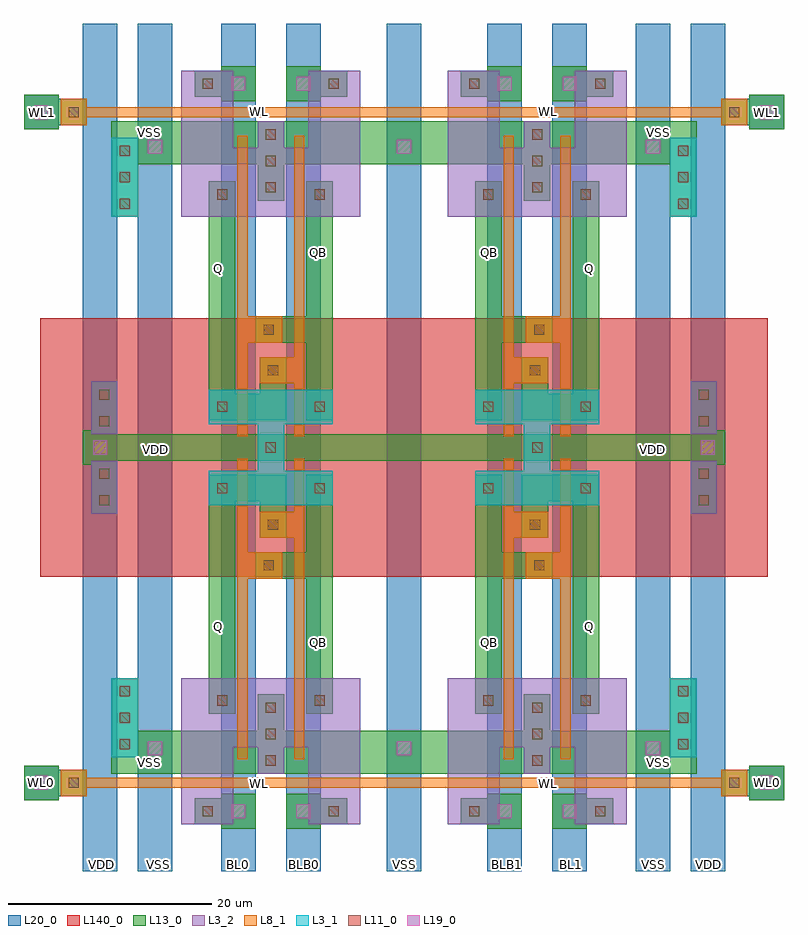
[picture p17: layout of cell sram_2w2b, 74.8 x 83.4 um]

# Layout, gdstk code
from math import pi, radians
import gdstk
lib = gdstk.Library(unit=1e-6, precision=1e-09)
def R(c, l, rs):  # rectangles x0, y0, x1, y1
    for r in rs: c.add(gdstk.rectangle(r[:2], r[2:], *l))
def A(c, l, x, y, w, h, nx, ny, dx, dy):  # array of equal rectangles
    R(c, l, [(x+i*dx, y+j*dy, x+i*dx+w, y+j*dy+h) for i in range(nx) for j in range(ny)])
L3_1 = (3, 1)
L3_2 = (3, 2)
L8_1 = (8, 1)
L11_0 = (11, 0)
L13_0 = (13, 0)
L19_0 = (19, 0)
L20_0 = (20, 0)
L140_0 = (140, 0)

cont_p_3 = lib.new_cell('cont_p$3')
R(cont_p_3, L3_1, [(-1.3,-1.3,1.3,1.3)])
R(cont_p_3, L11_0, [(-0.5,-0.5,0.5,0.5)])
R(cont_p_3, L13_0, [(-1.3,-1.3,1.3,1.3)])

cont_n_3 = lib.new_cell('cont_n$3')
R(cont_n_3, L3_2, [(-1.3,-1.3,1.3,1.3)])
R(cont_n_3, L11_0, [(-0.5,-0.5,0.5,0.5)])
R(cont_n_3, L13_0, [(-1.3,-1.3,1.3,1.3)])

via_1_1 = lib.new_cell('via_1$1')
R(via_1_1, L13_0, [(-1.7,-1.7,1.7,1.7)])
R(via_1_1, L19_0, [(-0.7,-0.7,0.7,0.7)])
R(via_1_1, L20_0, [(-1.7,-1.7,1.7,1.7)])

cont_g_3 = lib.new_cell('cont_g$3')
R(cont_g_3, L8_1, [(-1.3,-1.3,1.3,1.3)])
R(cont_g_3, L11_0, [(-0.5,-0.5,0.5,0.5)])
R(cont_g_3, L13_0, [(-1.3,-1.3,1.3,1.3)])

sram_2w2b = lib.new_cell('sram_2w2b')
R(sram_2w2b, L3_1, [(-405.9,10196.3,-393.7,10199.7), (-379.7,10196.3,-367.5,10199.7), (-401.1,10199.7,-398.5,10200.7), (-374.9,10199.7,-372.3,10200.7), (-401.1,10203.3,-398.5,10204.3), (-374.9,10203.3,-372.3,10204.3), (-405.9,10204.3,-393.7,10207.7), (-379.7,10204.3,-367.5,10207.7)])
R(sram_2w2b, L3_2, [(-408.6,10164.9,-403.5,10172.5), (-396.1,10164.9,-391,10172.5), (-382.4,10164.9,-377.3,10172.5), (-369.9,10164.9,-364.8,10172.5), (-408.6,10172.5,-391,10179.3), (-382.4,10172.5,-364.8,10179.3), (-408.6,10224.7,-391,10231.5), (-382.4,10224.7,-364.8,10231.5), (-408.6,10231.5,-403.5,10239.1), (-396.1,10231.5,-391,10239.1), (-382.4,10231.5,-377.3,10239.1), (-369.9,10231.5,-364.8,10239.1)])
R(sram_2w2b, L8_1, [(-419.7,10168.5,-412.9,10169.5), (-419.7,10168.5,-412.9,10169.5), (-412.9,10168.5,-386.7,10169.5), (-386.7,10168.5,-360.5,10169.5), (-360.5,10168.5,-353.7,10169.5), (-403.1,10171.3,-402.1,10200.9), (-397.5,10171.3,-396.5,10200.9), (-376.9,10171.3,-375.9,10200.9), (-371.3,10171.3,-370.3,10200.9), (-402.1,10189.1,-401.3,10191.7), (-372.1,10189.1,-371.3,10191.7), (-398.3,10193.1,-397.5,10195.7), (-375.9,10193.1,-375.1,10195.7), (-403.1,10203.1,-402.1,10232.7), (-397.5,10203.1,-396.5,10232.7), (-376.9,10203.1,-375.9,10232.7), (-371.3,10203.1,-370.3,10232.7), (-398.3,10208.3,-397.5,10210.9), (-375.9,10208.3,-375.1,10210.9), (-402.1,10212.3,-401.3,10214.9), (-372.1,10212.3,-371.3,10214.9), (-419.7,10234.5,-412.9,10235.5), (-412.9,10234.5,-386.7,10235.5), (-386.7,10234.5,-360.5,10235.5), (-360.5,10234.5,-353.7,10235.5)])
R(sram_2w2b, L13_0, [(-420.7,10167.7,-420.5,10170.3), (-420.7,10167.7,-420.5,10170.3), (-352.9,10167.7,-352.7,10170.3), (-352.9,10167.7,-352.7,10170.3), (-352.9,10167.7,-352.7,10170.3), (-352.9,10167.7,-352.7,10170.3), (-415.5,10169.9,-412.9,10171.5), (-412.9,10169.9,-386.7,10174.1), (-386.7,10169.9,-360.5,10174.1), (-360.5,10169.9,-357.9,10171.5), (-401.1,10172.5,-398.5,10177.7), (-374.9,10172.5,-372.3,10177.7), (-405.9,10175.8,-403.3,10196.7), (-396.3,10175.8,-393.7,10196.7), (-379.7,10175.8,-377.1,10196.7), (-370.1,10175.8,-367.5,10196.7), (-398.7,10189.1,-396.3,10191.7), (-377.1,10189.1,-374.7,10191.7), (-400.9,10195.6,-398.3,10196.7), (-375.1,10195.6,-372.5,10196.7), (-403.3,10196.7,-398.3,10199.3), (-375.1,10196.7,-370.1,10199.3), (-417.5,10200.7,-412.9,10203.3), (-412.9,10200.7,-386.7,10203.3), (-412.9,10200.7,-386.7,10203.3), (-386.7,10200.7,-360.5,10203.3), (-386.7,10200.7,-360.5,10203.3), (-360.5,10200.7,-355.9,10203.3), (-403.3,10204.7,-398.3,10207.3), (-375.1,10204.7,-370.1,10207.3), (-405.9,10207.3,-403.3,10228.2), (-400.9,10207.3,-398.3,10208.4), (-396.3,10207.3,-393.7,10228.2), (-379.7,10207.3,-377.1,10228.2), (-375.1,10207.3,-372.5,10208.4), (-370.1,10207.3,-367.5,10228.2), (-398.7,10212.3,-396.3,10214.9), (-377.1,10212.3,-374.7,10214.9), (-401.1,10226.3,-398.5,10231.5), (-374.9,10226.3,-372.3,10231.5), (-412.9,10229.9,-386.7,10234.1), (-386.7,10229.9,-360.5,10234.1), (-415.5,10232.5,-412.9,10234.1), (-360.5,10232.5,-357.9,10234.1), (-420.7,10233.7,-420.5,10236.3), (-352.9,10233.7,-352.7,10236.3), (-352.9,10233.7,-352.7,10236.3), (-352.9,10233.7,-352.7,10236.3), (-352.9,10233.7,-352.7,10236.3)])
A(sram_2w2b, L20_0, -398.3, 10160.3, 3.4, 4.2, 3, 2, 9.9, 79.2)
R(sram_2w2b, L20_0, [(-418.3,10160.3,-414.9,10164.5), (-412.9,10160.3,-409.5,10164.5), (-404.7,10160.3,-401.3,10164.5), (-404.7,10160.3,-401.3,10164.5), (-398.3,10160.3,-394.9,10164.5), (-378.5,10160.3,-375.1,10164.5), (-372.1,10160.3,-368.7,10164.5), (-372.1,10160.3,-368.7,10164.5), (-363.9,10160.3,-360.5,10164.5), (-358.5,10160.3,-355.1,10164.5), (-418.3,10164.5,-414.9,10200.3), (-412.9,10164.5,-409.5,10202), (-388.4,10164.5,-385,10202), (-388.4,10164.5,-385,10202), (-363.9,10164.5,-360.5,10202), (-358.5,10164.5,-355.1,10200.3), (-404.7,10167.9,-401.3,10202), (-398.3,10167.9,-394.9,10202), (-378.5,10167.9,-375.1,10202), (-372.1,10167.9,-368.7,10202), (-412.9,10202,-409.5,10239.5), (-404.7,10202,-401.3,10236.1), (-398.3,10202,-394.9,10236.1), (-388.4,10202,-385,10239.5), (-388.4,10202,-385,10239.5), (-378.5,10202,-375.1,10236.1), (-372.1,10202,-368.7,10236.1), (-363.9,10202,-360.5,10239.5), (-418.3,10203.7,-414.9,10239.5), (-358.5,10203.7,-355.1,10239.5), (-418.3,10239.5,-414.9,10243.7), (-412.9,10239.5,-409.5,10243.7), (-404.7,10239.5,-401.3,10243.7), (-404.7,10239.5,-401.3,10243.7), (-398.3,10239.5,-394.9,10243.7), (-378.5,10239.5,-375.1,10243.7), (-372.1,10239.5,-368.7,10243.7), (-372.1,10239.5,-368.7,10243.7), (-363.9,10239.5,-360.5,10243.7), (-358.5,10239.5,-355.1,10243.7)])
R(sram_2w2b, L140_0, [(-422.5,10189.3,-412.9,10214.7), (-412.9,10189.3,-386.7,10210.3), (-386.7,10189.3,-360.5,10210.3), (-360.5,10189.3,-350.9,10214.7), (-412.9,10193.7,-386.7,10214.7), (-386.7,10193.7,-360.5,10214.7)])
r = gdstk.Reference(cont_p_3, (-373.6,10202), rotation=pi, x_reflection=True); r.repetition = gdstk.Repetition(1, 1, v1=(0,0), v2=(0,0)); sram_2w2b.add(r)
r = gdstk.Reference(cont_p_3, (-399.8,10202), x_reflection=True); r.repetition = gdstk.Repetition(1, 1, v1=(0,0), v2=(0,0)); sram_2w2b.add(r)
r = gdstk.Reference(cont_p_3, (-373.6,10202), rotation=pi); r.repetition = gdstk.Repetition(1, 1, v1=(0,0), v2=(0,0)); sram_2w2b.add(r)
sram_2w2b.add(gdstk.Reference(cont_n_3, (-416.2,10204.6), x_reflection=True))
sram_2w2b.add(gdstk.Reference(cont_n_3, (-416.2,10199.4), x_reflection=True))
sram_2w2b.add(gdstk.Reference(via_1_1, (-416.6,10202), x_reflection=True))
sram_2w2b.add(gdstk.Reference(cont_n_3, (-416.2,10207.2), x_reflection=True))
sram_2w2b.add(gdstk.Reference(cont_n_3, (-416.2,10196.8), x_reflection=True))
sram_2w2b.add(gdstk.Reference(cont_p_3, (-414.2,10172.8), x_reflection=True))
sram_2w2b.add(gdstk.Reference(cont_p_3, (-414.2,10175.4), x_reflection=True))
sram_2w2b.add(gdstk.Reference(cont_p_3, (-414.2,10178), x_reflection=True))
sram_2w2b.add(gdstk.Reference(cont_p_3, (-414.2,10226), x_reflection=True))
sram_2w2b.add(gdstk.Reference(cont_p_3, (-414.2,10228.6), x_reflection=True))
sram_2w2b.add(gdstk.Reference(cont_p_3, (-414.2,10231.2), x_reflection=True))
sram_2w2b.add(gdstk.Reference(cont_n_3, (-357.2,10204.6), x_reflection=True))
sram_2w2b.add(gdstk.Reference(cont_n_3, (-357.2,10199.4), x_reflection=True))
sram_2w2b.add(gdstk.Reference(via_1_1, (-356.8,10202), x_reflection=True))
sram_2w2b.add(gdstk.Reference(cont_n_3, (-357.2,10207.2), x_reflection=True))
sram_2w2b.add(gdstk.Reference(cont_n_3, (-357.2,10196.8), x_reflection=True))
sram_2w2b.add(gdstk.Reference(cont_p_3, (-359.2,10172.8), x_reflection=True))
sram_2w2b.add(gdstk.Reference(cont_p_3, (-359.2,10175.4), x_reflection=True))
sram_2w2b.add(gdstk.Reference(cont_p_3, (-359.2,10178), x_reflection=True))
sram_2w2b.add(gdstk.Reference(cont_p_3, (-359.2,10226), x_reflection=True))
sram_2w2b.add(gdstk.Reference(cont_p_3, (-359.2,10228.6), x_reflection=True))
sram_2w2b.add(gdstk.Reference(cont_p_3, (-359.2,10231.2), x_reflection=True))
sram_2w2b.add(gdstk.Reference(via_1_1, (-422.4,10169), x_reflection=True))
sram_2w2b.add(gdstk.Reference(via_1_1, (-422.4,10235), x_reflection=True))
sram_2w2b.add(gdstk.Reference(cont_g_3, (-419.2,10235), x_reflection=True))
sram_2w2b.add(gdstk.Reference(cont_g_3, (-419.2,10169), x_reflection=True))
sram_2w2b.add(gdstk.Reference(cont_g_3, (-419.2,10169), x_reflection=True))
sram_2w2b.add(gdstk.Reference(cont_g_3, (-354.2,10169), x_reflection=True))
sram_2w2b.add(gdstk.Reference(cont_g_3, (-354.2,10235), x_reflection=True))
sram_2w2b.add(gdstk.Reference(via_1_1, (-351,10169), x_reflection=True))
sram_2w2b.add(gdstk.Reference(via_1_1, (-351,10169), x_reflection=True))
sram_2w2b.add(gdstk.Reference(via_1_1, (-351,10235), x_reflection=True))
sram_2w2b.add(gdstk.Reference(via_1_1, (-351,10235), x_reflection=True))
r = gdstk.Reference(cont_p_3, (-399.8,10202)); r.repetition = gdstk.Repetition(1, 1, v1=(0,0), v2=(0,0)); sram_2w2b.add(r)
r = gdstk.Reference(cont_p_3, (-395,10198)); r.repetition = gdstk.Repetition(1, 1, v1=(0,0), v2=(0,0)); sram_2w2b.add(r)
r = gdstk.Reference(cont_p_3, (-404.6,10198)); r.repetition = gdstk.Repetition(1, 1, v1=(0,0), v2=(0,0)); sram_2w2b.add(r)
r = gdstk.Reference(cont_n_3, (-395,10177.1)); r.repetition = gdstk.Repetition(1, 1, v1=(0,0), v2=(0,0)); sram_2w2b.add(r)
r = gdstk.Reference(cont_n_3, (-399.8,10171.2)); r.repetition = gdstk.Repetition(1, 1, v1=(0,0), v2=(0,0)); sram_2w2b.add(r)
r = gdstk.Reference(cont_n_3, (-404.6,10177.1)); r.repetition = gdstk.Repetition(1, 1, v1=(0,0), v2=(0,0)); sram_2w2b.add(r)
r = gdstk.Reference(cont_g_3, (-399.6,10194.4)); r.repetition = gdstk.Repetition(1, 1, v1=(0,0), v2=(0,0)); sram_2w2b.add(r)
r = gdstk.Reference(cont_g_3, (-400,10190.4)); r.repetition = gdstk.Repetition(1, 1, v1=(0,0), v2=(0,0)); sram_2w2b.add(r)
r = gdstk.Reference(cont_n_3, (-406,10166.2)); r.repetition = gdstk.Repetition(1, 1, v1=(0,0), v2=(0,0)); sram_2w2b.add(r)
r = gdstk.Reference(cont_n_3, (-393.6,10166.2)); r.repetition = gdstk.Repetition(1, 1, v1=(0,0), v2=(0,0)); sram_2w2b.add(r)
r = gdstk.Reference(via_1_1, (-386.7,10172.4)); r.repetition = gdstk.Repetition(1, 1, v1=(0,0), v2=(0,0)); sram_2w2b.add(r)
r = gdstk.Reference(via_1_1, (-396.6,10166.2)); r.repetition = gdstk.Repetition(1, 1, v1=(0,0), v2=(0,0)); sram_2w2b.add(r)
r = gdstk.Reference(via_1_1, (-403,10166.2)); r.repetition = gdstk.Repetition(1, 1, v1=(0,0), v2=(0,0)); sram_2w2b.add(r)
r = gdstk.Reference(cont_n_3, (-399.8,10173.8)); r.repetition = gdstk.Repetition(1, 1, v1=(0,0), v2=(0,0)); sram_2w2b.add(r)
r = gdstk.Reference(cont_n_3, (-399.8,10176.4)); r.repetition = gdstk.Repetition(1, 1, v1=(0,0), v2=(0,0)); sram_2w2b.add(r)
r = gdstk.Reference(via_1_1, (-411.2,10172.4)); r.repetition = gdstk.Repetition(1, 1, v1=(0,0), v2=(0,0)); sram_2w2b.add(r)
r = gdstk.Reference(cont_p_3, (-378.4,10198), rotation=pi, x_reflection=True); r.repetition = gdstk.Repetition(1, 1, v1=(0,0), v2=(0,0)); sram_2w2b.add(r)
r = gdstk.Reference(cont_p_3, (-368.8,10198), rotation=pi, x_reflection=True); r.repetition = gdstk.Repetition(1, 1, v1=(0,0), v2=(0,0)); sram_2w2b.add(r)
r = gdstk.Reference(cont_n_3, (-378.4,10177.1), rotation=pi, x_reflection=True); r.repetition = gdstk.Repetition(1, 1, v1=(0,0), v2=(0,0)); sram_2w2b.add(r)
r = gdstk.Reference(cont_n_3, (-373.6,10171.2), rotation=pi, x_reflection=True); r.repetition = gdstk.Repetition(1, 1, v1=(0,0), v2=(0,0)); sram_2w2b.add(r)
r = gdstk.Reference(cont_n_3, (-368.8,10177.1), rotation=pi, x_reflection=True); r.repetition = gdstk.Repetition(1, 1, v1=(0,0), v2=(0,0)); sram_2w2b.add(r)
r = gdstk.Reference(cont_g_3, (-373.8,10194.4), rotation=pi, x_reflection=True); r.repetition = gdstk.Repetition(1, 1, v1=(0,0), v2=(0,0)); sram_2w2b.add(r)
r = gdstk.Reference(cont_g_3, (-373.4,10190.4), rotation=pi, x_reflection=True); r.repetition = gdstk.Repetition(1, 1, v1=(0,0), v2=(0,0)); sram_2w2b.add(r)
r = gdstk.Reference(cont_n_3, (-367.4,10166.2), rotation=pi, x_reflection=True); r.repetition = gdstk.Repetition(1, 1, v1=(0,0), v2=(0,0)); sram_2w2b.add(r)
r = gdstk.Reference(cont_n_3, (-379.8,10166.2), rotation=pi, x_reflection=True); r.repetition = gdstk.Repetition(1, 1, v1=(0,0), v2=(0,0)); sram_2w2b.add(r)
r = gdstk.Reference(via_1_1, (-386.7,10172.4), rotation=pi, x_reflection=True); r.repetition = gdstk.Repetition(1, 1, v1=(0,0), v2=(0,0)); sram_2w2b.add(r)
r = gdstk.Reference(via_1_1, (-376.8,10166.2), rotation=pi, x_reflection=True); r.repetition = gdstk.Repetition(1, 1, v1=(0,0), v2=(0,0)); sram_2w2b.add(r)
r = gdstk.Reference(via_1_1, (-370.4,10166.2), rotation=pi, x_reflection=True); r.repetition = gdstk.Repetition(1, 1, v1=(0,0), v2=(0,0)); sram_2w2b.add(r)
r = gdstk.Reference(cont_n_3, (-373.6,10173.8), rotation=pi, x_reflection=True); r.repetition = gdstk.Repetition(1, 1, v1=(0,0), v2=(0,0)); sram_2w2b.add(r)
r = gdstk.Reference(cont_n_3, (-373.6,10176.4), rotation=pi, x_reflection=True); r.repetition = gdstk.Repetition(1, 1, v1=(0,0), v2=(0,0)); sram_2w2b.add(r)
r = gdstk.Reference(via_1_1, (-362.2,10172.4), rotation=pi, x_reflection=True); r.repetition = gdstk.Repetition(1, 1, v1=(0,0), v2=(0,0)); sram_2w2b.add(r)
r = gdstk.Reference(cont_p_3, (-395,10206), x_reflection=True); r.repetition = gdstk.Repetition(1, 1, v1=(0,0), v2=(0,0)); sram_2w2b.add(r)
r = gdstk.Reference(cont_p_3, (-404.6,10206), x_reflection=True); r.repetition = gdstk.Repetition(1, 1, v1=(0,0), v2=(0,0)); sram_2w2b.add(r)
r = gdstk.Reference(cont_n_3, (-395,10226.9), x_reflection=True); r.repetition = gdstk.Repetition(1, 1, v1=(0,0), v2=(0,0)); sram_2w2b.add(r)
r = gdstk.Reference(cont_n_3, (-399.8,10232.8), x_reflection=True); r.repetition = gdstk.Repetition(1, 1, v1=(0,0), v2=(0,0)); sram_2w2b.add(r)
r = gdstk.Reference(cont_n_3, (-404.6,10226.9), x_reflection=True); r.repetition = gdstk.Repetition(1, 1, v1=(0,0), v2=(0,0)); sram_2w2b.add(r)
r = gdstk.Reference(cont_g_3, (-399.6,10209.6), x_reflection=True); r.repetition = gdstk.Repetition(1, 1, v1=(0,0), v2=(0,0)); sram_2w2b.add(r)
r = gdstk.Reference(cont_g_3, (-400,10213.6), x_reflection=True); r.repetition = gdstk.Repetition(1, 1, v1=(0,0), v2=(0,0)); sram_2w2b.add(r)
r = gdstk.Reference(cont_n_3, (-406,10237.8), x_reflection=True); r.repetition = gdstk.Repetition(1, 1, v1=(0,0), v2=(0,0)); sram_2w2b.add(r)
r = gdstk.Reference(cont_n_3, (-393.6,10237.8), x_reflection=True); r.repetition = gdstk.Repetition(1, 1, v1=(0,0), v2=(0,0)); sram_2w2b.add(r)
r = gdstk.Reference(via_1_1, (-386.7,10231.6), x_reflection=True); r.repetition = gdstk.Repetition(1, 1, v1=(0,0), v2=(0,0)); sram_2w2b.add(r)
r = gdstk.Reference(via_1_1, (-396.6,10237.8), x_reflection=True); r.repetition = gdstk.Repetition(1, 1, v1=(0,0), v2=(0,0)); sram_2w2b.add(r)
r = gdstk.Reference(via_1_1, (-403,10237.8), x_reflection=True); r.repetition = gdstk.Repetition(1, 1, v1=(0,0), v2=(0,0)); sram_2w2b.add(r)
r = gdstk.Reference(cont_n_3, (-399.8,10230.2), x_reflection=True); r.repetition = gdstk.Repetition(1, 1, v1=(0,0), v2=(0,0)); sram_2w2b.add(r)
r = gdstk.Reference(cont_n_3, (-399.8,10227.6), x_reflection=True); r.repetition = gdstk.Repetition(1, 1, v1=(0,0), v2=(0,0)); sram_2w2b.add(r)
r = gdstk.Reference(via_1_1, (-411.2,10231.6), x_reflection=True); r.repetition = gdstk.Repetition(1, 1, v1=(0,0), v2=(0,0)); sram_2w2b.add(r)
r = gdstk.Reference(cont_p_3, (-378.4,10206), rotation=pi); r.repetition = gdstk.Repetition(1, 1, v1=(0,0), v2=(0,0)); sram_2w2b.add(r)
r = gdstk.Reference(cont_p_3, (-368.8,10206), rotation=pi); r.repetition = gdstk.Repetition(1, 1, v1=(0,0), v2=(0,0)); sram_2w2b.add(r)
r = gdstk.Reference(cont_n_3, (-378.4,10226.9), rotation=pi); r.repetition = gdstk.Repetition(1, 1, v1=(0,0), v2=(0,0)); sram_2w2b.add(r)
r = gdstk.Reference(cont_n_3, (-373.6,10232.8), rotation=pi); r.repetition = gdstk.Repetition(1, 1, v1=(0,0), v2=(0,0)); sram_2w2b.add(r)
r = gdstk.Reference(cont_n_3, (-368.8,10226.9), rotation=pi); r.repetition = gdstk.Repetition(1, 1, v1=(0,0), v2=(0,0)); sram_2w2b.add(r)
r = gdstk.Reference(cont_g_3, (-373.8,10209.6), rotation=pi); r.repetition = gdstk.Repetition(1, 1, v1=(0,0), v2=(0,0)); sram_2w2b.add(r)
r = gdstk.Reference(cont_g_3, (-373.4,10213.6), rotation=pi); r.repetition = gdstk.Repetition(1, 1, v1=(0,0), v2=(0,0)); sram_2w2b.add(r)
r = gdstk.Reference(cont_n_3, (-367.4,10237.8), rotation=pi); r.repetition = gdstk.Repetition(1, 1, v1=(0,0), v2=(0,0)); sram_2w2b.add(r)
r = gdstk.Reference(cont_n_3, (-379.8,10237.8), rotation=pi); r.repetition = gdstk.Repetition(1, 1, v1=(0,0), v2=(0,0)); sram_2w2b.add(r)
r = gdstk.Reference(via_1_1, (-386.7,10231.6), rotation=pi); r.repetition = gdstk.Repetition(1, 1, v1=(0,0), v2=(0,0)); sram_2w2b.add(r)
r = gdstk.Reference(via_1_1, (-376.8,10237.8), rotation=pi); r.repetition = gdstk.Repetition(1, 1, v1=(0,0), v2=(0,0)); sram_2w2b.add(r)
r = gdstk.Reference(via_1_1, (-370.4,10237.8), rotation=pi); r.repetition = gdstk.Repetition(1, 1, v1=(0,0), v2=(0,0)); sram_2w2b.add(r)
r = gdstk.Reference(cont_n_3, (-373.6,10230.2), rotation=pi); r.repetition = gdstk.Repetition(1, 1, v1=(0,0), v2=(0,0)); sram_2w2b.add(r)
r = gdstk.Reference(cont_n_3, (-373.6,10227.6), rotation=pi); r.repetition = gdstk.Repetition(1, 1, v1=(0,0), v2=(0,0)); sram_2w2b.add(r)
r = gdstk.Reference(via_1_1, (-362.2,10231.6), rotation=pi); r.repetition = gdstk.Repetition(1, 1, v1=(0,0), v2=(0,0)); sram_2w2b.add(r)
sram_2w2b.add(gdstk.Label('WL', (-400.9,10168.9), layer=48, texttype=0))
sram_2w2b.add(gdstk.Label('Q', (-405,10184.4), layer=48, texttype=0))
sram_2w2b.add(gdstk.Label('QB', (-395.1,10182.8), layer=48, texttype=0))
sram_2w2b.add(gdstk.Label('VSS', (-411.7,10171), layer=48, texttype=0))
sram_2w2b.add(gdstk.Label('VDD', (-411.2,10201.8), layer=48, texttype=0))
sram_2w2b.add(gdstk.Label('WL', (-372.5,10168.9), layer=48, texttype=0))
sram_2w2b.add(gdstk.Label('Q', (-368.4,10184.4), layer=48, texttype=0))
sram_2w2b.add(gdstk.Label('QB', (-378.3,10182.8), layer=48, texttype=0))
sram_2w2b.add(gdstk.Label('VSS', (-361.7,10171), layer=48, texttype=0))
sram_2w2b.add(gdstk.Label('VDD', (-362.2,10201.8), layer=48, texttype=0))
sram_2w2b.add(gdstk.Label('WL', (-400.9,10235.1), layer=48, texttype=0))
sram_2w2b.add(gdstk.Label('Q', (-405,10219.6), layer=48, texttype=0))
sram_2w2b.add(gdstk.Label('QB', (-395.1,10221.2), layer=48, texttype=0))
sram_2w2b.add(gdstk.Label('VSS', (-411.7,10233), layer=48, texttype=0))
sram_2w2b.add(gdstk.Label('VDD', (-411.2,10202.2), layer=48, texttype=0))
sram_2w2b.add(gdstk.Label('WL', (-372.5,10235.1), layer=48, texttype=0))
sram_2w2b.add(gdstk.Label('Q', (-368.4,10219.6), layer=48, texttype=0))
sram_2w2b.add(gdstk.Label('QB', (-378.3,10221.2), layer=48, texttype=0))
sram_2w2b.add(gdstk.Label('VSS', (-361.7,10233), layer=48, texttype=0))
sram_2w2b.add(gdstk.Label('VDD', (-362.2,10202.2), layer=48, texttype=0))
sram_2w2b.add(gdstk.Label('WL0', (-422.4,10169), layer=49, texttype=0))
sram_2w2b.add(gdstk.Label('VDD', (-416.5,10161), layer=49, texttype=0))
sram_2w2b.add(gdstk.Label('VSS', (-410.9,10161), layer=49, texttype=0))
sram_2w2b.add(gdstk.Label('BL0', (-403,10161), layer=49, texttype=0))
sram_2w2b.add(gdstk.Label('BLB0', (-396.5,10161), layer=49, texttype=0))
sram_2w2b.add(gdstk.Label('VSS', (-386.7,10161), layer=49, texttype=0))
sram_2w2b.add(gdstk.Label('BLB1', (-376.5,10161), layer=49, texttype=0))
sram_2w2b.add(gdstk.Label('BL1', (-370.2,10161), layer=49, texttype=0))
sram_2w2b.add(gdstk.Label('VSS', (-362.1,10161), layer=49, texttype=0))
sram_2w2b.add(gdstk.Label('VDD', (-356.7,10161), layer=49, texttype=0))
sram_2w2b.add(gdstk.Label('WL0', (-350.9,10169), layer=49, texttype=0))
sram_2w2b.add(gdstk.Label('WL1', (-422.3,10235), layer=49, texttype=0))
sram_2w2b.add(gdstk.Label('WL1', (-350.9,10235), layer=49, texttype=0))

lib.write_gds('sram_2w2b.gds')
